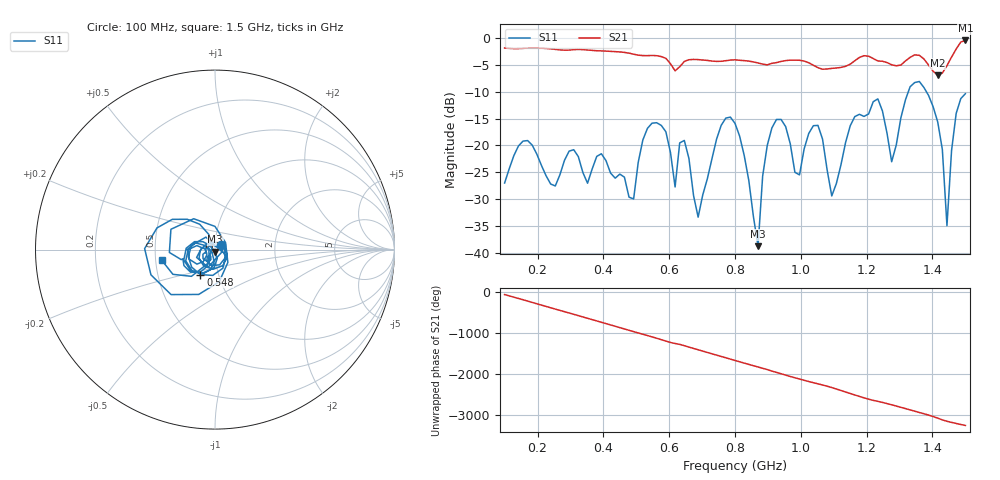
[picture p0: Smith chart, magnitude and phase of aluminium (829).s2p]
! NanoVNA-App
! Date: 2025-09-25 15:01:44
! Start: 100MHz Stop: 1,5GHz Points: 101
! S-Parameter data: F S11 S21 S12 S22
# Hz S RI R 50
!  Frequency  S11_Real  S11_Imag  S21_Real  S21_Imag  S12_Real  S12_Imag  S22_Real  S22_Imag
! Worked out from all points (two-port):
!   101 points, 100 MHz to 1.5 GHz, reference 50 ohm
!   highest |S21| = -0.52 dB at 1.5 GHz (marker M1); lowest = -7.0 dB at 1.416 GHz (marker M2)
!   |S21| within 3 dB of the highest: start of sweep to 576.3 MHz; 1.459 GHz to end of sweep (the widest 2 of 4)
!   lowest |S11| = -38.7 dB at 870 MHz (marker M3), VSWR 1.02, Z = 50.1 - j1.16 ohm
!   |S11| at or under -10 dB: start of sweep to 1.327 GHz; 1.381 GHz to end of sweep
!   S12 and S22 are empty: the file has one direction only
!   S11 on the Smith chart (normalised r, x): 100 MHz: 1.07, +0.06; 548 MHz: 0.82, -0.23; 1.5 GHz: 0.54, -0.07
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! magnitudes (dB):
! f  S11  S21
! 100 MHz  -27.0  -1.9
! 156 MHz  -19.2  -2.0
! 338 MHz  -25.0  -2.2
! 492 MHz  -29.9  -3.1
! 548 MHz  -15.9  -3.3
! 576 MHz  -16.3  -3.5
! 618 MHz  -27.7  -6.1
! 646 MHz  -19.1  -4.4
! 688 MHz  -33.3  -4.1
! 800 MHz  -15.9  -4.1
! 870 MHz  -38.7  -4.7
! 912 MHz  -16.8  -4.8
! 996 MHz  -25.5  -4.2
! 1.038 GHz  -16.3  -5.1
! 1.094 GHz  -29.4  -5.7
! 1.234 GHz  -11.4  -4.3
! 1.276 GHz  -23.0  -5.0
! 1.346 GHz  -8.3  -3.2
! 1.416 GHz  -15.7  -7.0
! 1.444 GHz  -34.9  -5.2
! 1.472 GHz  -14.0  -2.1
! 1.5 GHz  -10.4  -0.5
